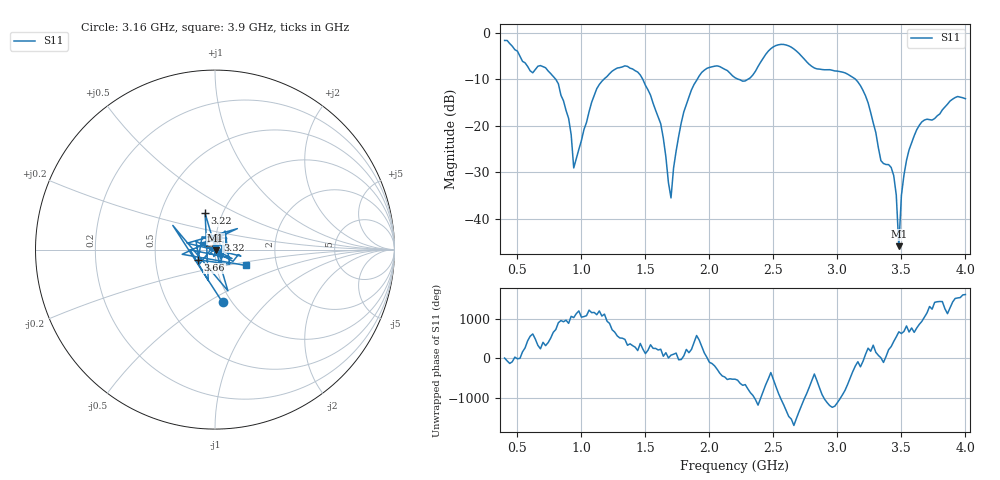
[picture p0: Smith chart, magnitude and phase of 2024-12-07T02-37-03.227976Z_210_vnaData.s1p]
!Created with skrf (http://scikit-rf.org).
# Hz S RI R 50.0
!freq ReS11 ImS11
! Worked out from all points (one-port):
!   181 points, 400 MHz to 4 GHz, reference 50 ohm
!   lowest |S11| = -46.0 dB at 3.48 GHz (marker M1), VSWR 1.01, Z = 50.3 - j0.403 ohm
!   |S11| at or under -10 dB: 800.1 MHz to 1.175 GHz (374.8 MHz wide, 38 % of centre); 1.48 GHz to 1.905 GHz (424.9 MHz wide, 25.1 % of centre); 3.142 GHz to end of sweep (the widest 3 of 4)
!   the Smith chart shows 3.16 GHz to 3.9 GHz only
!   S11 on the Smith chart (normalised r, x): 3.16 GHz: 0.91, -0.58; 3.22 GHz: 0.83, +0.35; 3.32 GHz: 1.02, +0.12; 3.66 GHz: 0.82, -0.09; 3.9 GHz: 1.39, -0.26
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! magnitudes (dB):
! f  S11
! 400 MHz  -1.6
! 620 MHz  -8.6
! 720 MHz  -7.5
! 860 MHz  -14.6
! 920 MHz  -21.9
! 940 MHz  -29.1
! 1.12 GHz  -12.0
! 1.3 GHz  -7.5
! 1.54 GHz  -13.4
! 1.62 GHz  -19.6
! 1.7 GHz  -35.5
! 1.76 GHz  -22.3
! 1.94 GHz  -8.5
! 2.2 GHz  -9.6
! 2.52 GHz  -2.7
! 2.66 GHz  -3.5
! 3.1 GHz  -9.2
! 3.16 GHz  -10.6
! 3.22 GHz  -13.6
! 3.32 GHz  -24.7
! 3.44 GHz  -30.7
! 3.46 GHz  -34.9
! 3.48 GHz  -46.0
! 3.5 GHz  -35.0
! 3.56 GHz  -25.2
! 3.66 GHz  -19.2
! 3.9 GHz  -14.3
! 4 GHz  -14.2
